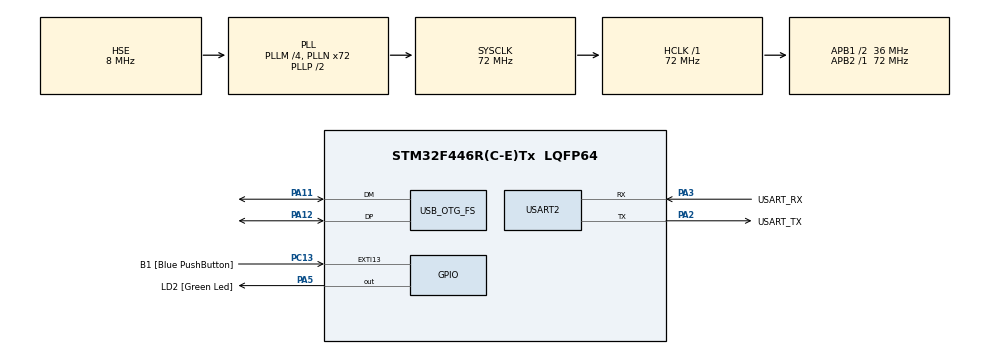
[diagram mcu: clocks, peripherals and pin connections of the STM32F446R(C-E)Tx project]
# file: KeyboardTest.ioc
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Mcu.Family=STM32F4
Mcu.Name=STM32F446R(C-E)Tx
Mcu.Package=LQFP64
NVIC.OTG_FS_IRQn=true\:0\:0\:false\:false\:true\:false\:true\:true
NVIC.PriorityGroup=NVIC_PRIORITYGROUP_0
PA11.Mode=Device_Only
PA11.Signal=USB_OTG_FS_DM
PA12.GPIO_PuPd=GPIO_NOPULL
PA12.Mode=Device_Only
PA12.Signal=USB_OTG_FS_DP
PA13.GPIO_Label=TMS
PA13.Mode=Serial_Wire
PA13.Signal=SYS_JTMS-SWDIO
PA14.GPIO_Label=TCK
PA14.Mode=Serial_Wire
PA14.Signal=SYS_JTCK-SWCLK
PA2.GPIO_Label=USART_TX
PA2.Mode=Asynchronous
PA2.Signal=USART2_TX
PA3.GPIO_Label=USART_RX
PA3.Mode=Asynchronous
PA3.Signal=USART2_RX
PA5.GPIO_Label=LD2 [Green Led]
PA5.Signal=GPIO_Output
PB3.GPIO_Label=SWO
PB3.Signal=SYS_JTDO-SWO
PC13.GPIO_Label=B1 [Blue PushButton]
PC13.GPIO_ModeDefaultEXTI=GPIO_MODE_IT_FALLING
PC13.Signal=GPXTI13
PC14-OSC32_IN.Mode=LSE-External-Oscillator
PC14-OSC32_IN.Signal=RCC_OSC32_IN
PC15-OSC32_OUT.Mode=LSE-External-Oscillator
PC15-OSC32_OUT.Signal=RCC_OSC32_OUT
PH0-OSC_IN.Mode=HSE-External-Oscillator
PH0-OSC_IN.Signal=RCC_OSC_IN
PH1-OSC_OUT.Mode=HSE-External-Oscillator
PH1-OSC_OUT.Signal=RCC_OSC_OUT
ProjectManager.HeapSize=0x200
ProjectManager.StackSize=0x400
ProjectManager.TargetToolchain=Makefile
RCC.48MHZClocksFreq_Value=84000000
RCC.AHBFreq_Value=72000000
RCC.APB1CLKDivider=RCC_HCLK_DIV2
RCC.APB1Freq_Value=36000000
RCC.APB1TimFreq_Value=72000000
RCC.APB2Freq_Value=72000000
RCC.APB2TimFreq_Value=72000000
RCC.CortexFreq_Value=72000000
RCC.FLatency-AdvancedSettings=FLASH_LATENCY_2
RCC.HCLKFreq_Value=72000000
RCC.HSE_VALUE=8000000
RCC.HSI_VALUE=16000000
RCC.PLLM=4
RCC.PLLN=72
RCC.PLLQ=3
RCC.SYSCLKFreq_VALUE=72000000
RCC.SYSCLKSource=RCC_SYSCLKSOURCE_PLLCLK
RCC.USBFreq_Value=48000000
RCC.VCOOutputFreq_Value=144000000
USART2.VirtualMode=VM_ASYNC
USB_DEVICE.CLASS_NAME_FS=HID
USB_DEVICE.VirtualMode-HID_FS=Hid
USB_DEVICE.VirtualModeFS=Hid_FS
USB_OTG_FS.VirtualMode=Device_Only
VP_USB_DEVICE_VS_USB_DEVICE_HID_FS.Mode=HID_FS
board=NUCLEO-F446RE

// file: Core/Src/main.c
/* USER CODE BEGIN Header */
/**
 ******************************************************************************
 * @file           : main.c
 * @brief          : Main program body
 ******************************************************************************
 * @attention
 *
 * Copyright (c) 2024 STMicroelectronics.
 * All rights reserved.
 *
 * This software is licensed under terms that can be found in the LICENSE file
 * in the root directory of this software component.
 * If no LICENSE file comes with this software, it is provided AS-IS.
 *
 ******************************************************************************
 */
/* USER CODE END Header */
#include "main.h"
#include "usart.h"
#include "usb_device.h"
#include "gpio.h"

/* USER CODE BEGIN Includes */
#include "usbd_customhid.h"
/* USER CODE END Includes */

/* USER CODE BEGIN PTD */
struct keyboardHID_t
{
  uint8_t modifiers;
  uint8_t key[7];
};
/* USER CODE END PTD */

/* USER CODE BEGIN PV */
extern USBD_HandleTypeDef hUsbDeviceFS;
struct keyboardHID_t keyboard_status = {0};
/* USER CODE END PV */

void SystemClock_Config(void);

int main(void)
{

  /* MCU Configuration--------------------------------------------------------*/

  /* Reset of all peripherals, Initializes the Flash interface and the Systick. */
  HAL_Init();

  /* Configure the system clock */
  SystemClock_Config();

  /* Initialize all configured peripherals */
  MX_GPIO_Init();
  MX_USART2_UART_Init();
  MX_USB_DEVICE_Init();

  /* Infinite loop */
  while (1)
  {

    /* USER CODE BEGIN 3 */
    if (HAL_GPIO_ReadPin(B1_GPIO_Port, B1_Pin) == GPIO_PIN_RESET)
    {
      const int delay = 100;
      keyboard_status.key[0] = KEY_A;
      keyboard_status.key[1] = KEY_K;
      keyboard_status.key[2] = KEY_E;
      USBD_CUSTOM_HID_SendReport(&hUsbDeviceFS, (uint8_t *)&keyboard_status, sizeof(struct keyboardHID_t));
      HAL_Delay(delay);

      keyboard_status.key[0] = 0x00;
      keyboard_status.key[1] = 0x00;
      keyboard_status.key[2] = 0x00;
      USBD_CUSTOM_HID_SendReport(&hUsbDeviceFS, (uint8_t *)&keyboard_status, sizeof(struct keyboardHID_t));
      HAL_Delay(delay);

      keyboard_status.key[0] = KEY_O;
      keyboard_status.key[1] = KEY_M;
      keyboard_status.key[2] = KEY_E;
      USBD_CUSTOM_HID_SendReport(&hUsbDeviceFS, (uint8_t *)&keyboard_status, sizeof(struct keyboardHID_t));
      HAL_Delay(delay);

      keyboard_status.key[0] = 0x00;
      keyboard_status.key[1] = 0x00;
      keyboard_status.key[2] = 0x00;
      USBD_CUSTOM_HID_SendReport(&hUsbDeviceFS, (uint8_t *)&keyboard_status, sizeof(struct keyboardHID_t));
      HAL_Delay(delay);

#ifdef KOTOYORO
      HAL_Delay(delay);

      keyboard_status.key[0] = KEY_K;
      keyboard_status.key[1] = KEY_O;
      USBD_CUSTOM_HID_SendReport(&hUsbDeviceFS, (uint8_t *)&keyboard_status, sizeof(struct keyboardHID_t));
      HAL_Delay(delay);

      keyboard_status.key[0] = 0x00;
      keyboard_status.key[1] = 0x00;
      USBD_CUSTOM_HID_SendReport(&hUsbDeviceFS, (uint8_t *)&keyboard_status, sizeof(struct keyboardHID_t));
      HAL_Delay(delay);

      keyboard_status.key[0] = KEY_T;
      keyboard_status.key[1] = KEY_O;
      USBD_CUSTOM_HID_SendReport(&hUsbDeviceFS, (uint8_t *)&keyboard_status, sizeof(struct keyboardHID_t));
      HAL_Delay(delay);

      keyboard_status.key[0] = 0x00;
      keyboard_status.key[1] = 0x00;
      USBD_CUSTOM_HID_SendReport(&hUsbDeviceFS, (uint8_t *)&keyboard_status, sizeof(struct keyboardHID_t));
      HAL_Delay(delay);

      keyboard_status.key[0] = KEY_Y;
      keyboard_status.key[1] = KEY_O;
      USBD_CUSTOM_HID_SendReport(&hUsbDeviceFS, (uint8_t *)&keyboard_status, sizeof(struct keyboardHID_t));
      HAL_Delay(delay);

      keyboard_status.key[0] = 0x00;
      keyboard_status.key[1] = 0x00;
      USBD_CUSTOM_HID_SendReport(&hUsbDeviceFS, (uint8_t *)&keyboard_status, sizeof(struct keyboardHID_t));
      HAL_Delay(delay);

      keyboard_status.key[0] = KEY_R;
      keyboard_status.key[1] = KEY_O;
      USBD_CUSTOM_HID_SendReport(&hUsbDeviceFS, (uint8_t *)&keyboard_status, sizeof(struct keyboardHID_t));
      HAL_Delay(delay);

      keyboard_status.key[0] = 0x00;
      keyboard_status.key[1] = 0x00;
      USBD_CUSTOM_HID_SendReport(&hUsbDeviceFS, (uint8_t *)&keyboard_status, sizeof(struct keyboardHID_t));
      HAL_Delay(delay);
#endif
      continue;
    }

    USBD_CUSTOM_HID_SendReport(&hUsbDeviceFS, (uint8_t *)&keyboard_status, sizeof(struct keyboardHID_t));
    for (int i = 0; i < 6; i++)
    {
      keyboard_status.key[i] = 0;
    }
    HAL_Delay(100);
  }
  /* USER CODE END 3 */
}

void SystemClock_Config(void)
{
  RCC_OscInitTypeDef RCC_OscInitStruct = {0};
  RCC_ClkInitTypeDef RCC_ClkInitStruct = {0};

  /** Configure the main internal regulator output voltage
   */
  __HAL_RCC_PWR_CLK_ENABLE();
  __HAL_PWR_VOLTAGESCALING_CONFIG(PWR_REGULATOR_VOLTAGE_SCALE3);

  /** Initializes the RCC Oscillators according to the specified parameters
   * in the RCC_OscInitTypeDef structure.
   */
  RCC_OscInitStruct.OscillatorType = RCC_OSCILLATORTYPE_HSE;
  RCC_OscInitStruct.HSEState = RCC_HSE_ON;
  RCC_OscInitStruct.PLL.PLLState = RCC_PLL_ON;
  RCC_OscInitStruct.PLL.PLLSource = RCC_PLLSOURCE_HSE;
  RCC_OscInitStruct.PLL.PLLM = 4;
  RCC_OscInitStruct.PLL.PLLN = 72;
  RCC_OscInitStruct.PLL.PLLP = RCC_PLLP_DIV2;
  RCC_OscInitStruct.PLL.PLLQ = 3;
  RCC_OscInitStruct.PLL.PLLR = 2;
  if (HAL_RCC_OscConfig(&RCC_OscInitStruct) != HAL_OK)
  {
    Error_Handler();
  }

  /** Initializes the CPU, AHB and APB buses clocks
   */
  RCC_ClkInitStruct.ClockType = RCC_CLOCKTYPE_HCLK | RCC_CLOCKTYPE_SYSCLK | RCC_CLOCKTYPE_PCLK1 | RCC_CLOCKTYPE_PCLK2;
  RCC_ClkInitStruct.SYSCLKSource = RCC_SYSCLKSOURCE_PLLCLK;
  RCC_ClkInitStruct.AHBCLKDivider = RCC_SYSCLK_DIV1;
  RCC_ClkInitStruct.APB1CLKDivider = RCC_HCLK_DIV2;
  RCC_ClkInitStruct.APB2CLKDivider = RCC_HCLK_DIV1;

  if (HAL_RCC_ClockConfig(&RCC_ClkInitStruct, FLASH_LATENCY_2) != HAL_OK)
  {
    Error_Handler();
  }
}

void Error_Handler(void)
{
  __disable_irq();
  while (1)
  {
  }
}
